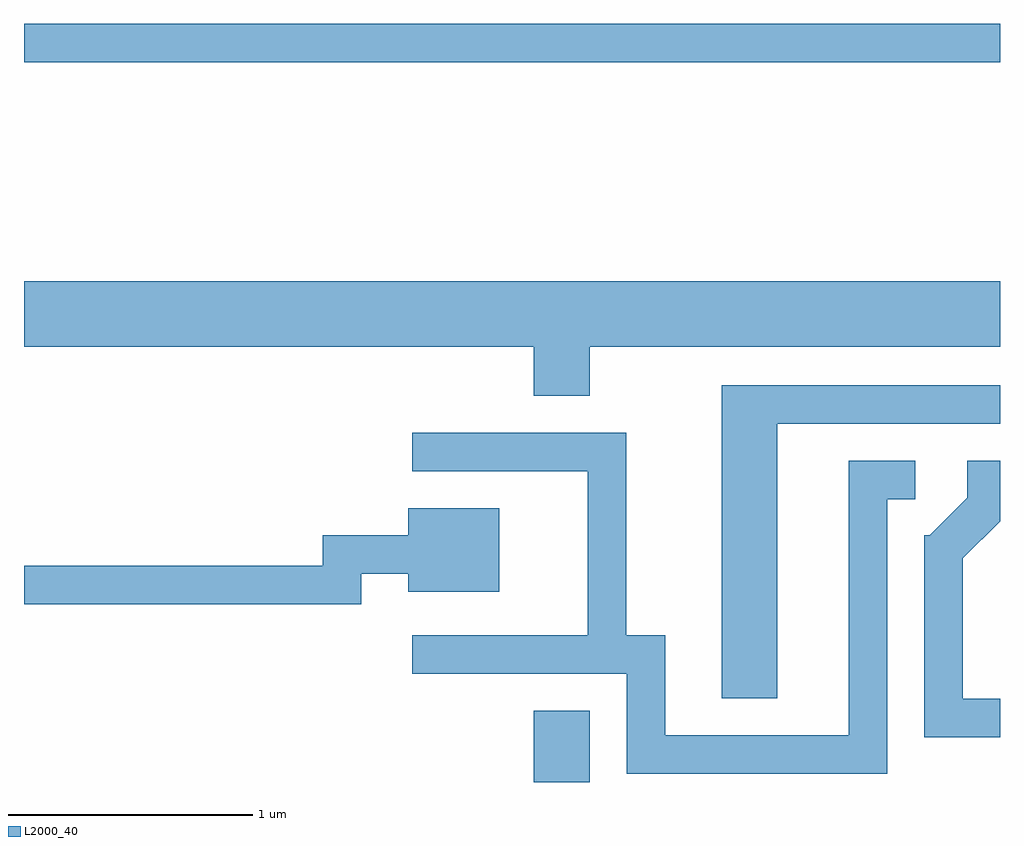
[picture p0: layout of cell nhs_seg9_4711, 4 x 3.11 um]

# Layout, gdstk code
import gdstk
lib = gdstk.Library(unit=1e-6, precision=1e-09)
def R(c, l, rs):  # rectangles x0, y0, x1, y1
    for r in rs: c.add(gdstk.rectangle(r[:2], r[2:], *l))
def P(c, l, *ps):  # polygons
    for p in ps: c.add(gdstk.Polygon(p, *l))
L2000_40 = (2000, 40)

nhs_seg9_4711 = lib.new_cell('nhs_seg9_4711')
R(nhs_seg9_4711, L2000_40, [(325.701,2034.432,325.929,2034.724), (323.611,2037.381,327.611,2037.539)])
P(nhs_seg9_4711, L2000_40, [(325.929,2036.216),(327.611,2036.216),(327.611,2036.484),(323.611,2036.484),(323.611,2036.216),(325.701,2036.216),(325.701,2036.016),(325.929,2036.016)],
  [(326.699,2035.901),(327.611,2035.901),(327.611,2036.059),(326.471,2036.059),(326.471,2034.776),(326.699,2034.776)],
  [(327.149,2035.591),(327.263,2035.591),(327.263,2035.749),(326.991,2035.749),(326.991,2034.624),(326.239,2034.624),(326.239,2035.034),(326.079,2035.034),(326.079,2035.864),(325.203,2035.864),(325.203,2035.706),(325.921,2035.706),(325.921,2035.034),(325.203,2035.034),(325.203,2034.876),(326.081,2034.876),(326.081,2034.466),(327.149,2034.466)],
  [(327.611,2034.774),(327.459,2034.774),(327.459,2035.349),(327.611,2035.501),(327.611,2035.749),(327.476,2035.749),(327.476,2035.597),(327.324,2035.444),(327.301,2035.444),(327.301,2034.616),(327.611,2034.616)],
  [(324.994,2035.286),(325.186,2035.286),(325.186,2035.211),(325.559,2035.211),(325.559,2035.554),(325.186,2035.554),(325.186,2035.444),(324.836,2035.444),(324.836,2035.319),(323.611,2035.319),(323.611,2035.161),(324.994,2035.161)])

lib.write_gds('nhs_seg9_4711.gds')
